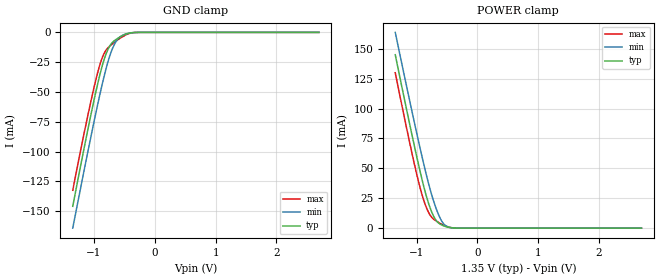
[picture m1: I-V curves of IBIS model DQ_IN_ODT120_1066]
| [Disclaimer]  This software code and all associated documentation, comments
| or other information (collectively "Software") is provided
| "AS IS" without warranty of any kind. MICRON TECHNOLOGY, INC.
| ("MTI") EXPRESSLY DISCLAIMS ALL WARRANTIES EXPRESS OR IMPLIED,
| INCLUDING BUT NOT LIMITED TO, NONINFRINGEMENT OF THIRD PARTY
| RIGHTS, AND ANY IMPLIED WARRANTIES OF MERCHANTABILITY OR
| FITNESS FOR ANY PARTICULAR PURPOSE. MTI DOES NOT WARRANT THAT
| THE SOFTWARE WILL MEET YOUR REQUIREMENTS, OR THAT THE
| OPERATION OF THE SOFTWARE WILL BE UNINTERRUPTED OR ERROR-FREE.
| FURTHERMORE, MTI DOES NOT MAKE ANY REPRESENTATIONS REGARDING
| THE USE OR THE RESULTS OF THE USE OF THE SOFTWARE IN TERMS OF
| ITS CORRECTNESS, ACCURACY, RELIABILITY, OR OTHERWISE. THE
| ENTIRE RISK ARISING OUT OF USE OR PERFORMANCE OF THE SOFTWARE
| REMAINS WITH YOU. IN NO EVENT SHALL MTI, ITS AFFILIATED
| COMPANIES OR THEIR SUPPLIERS BE LIABLE FOR ANY DIRECT,
| INDIRECT, CONSEQUENTIAL, INCIDENTAL, OR SPECIAL DAMAGES
| (INCLUDING, WITHOUT LIMITATION, DAMAGES FOR LOSS OF PROFITS,
| BUSINESS INTERRUPTION, OR LOSS OF INFORMATION) ARISING OUT OF
| YOUR USE OF OR INABILITY TO USE THE SOFTWARE, EVEN IF MTI HAS
| BEEN ADVISED OF THE POSSIBILITY OF SUCH DAMAGES. Because some
| jurisdictions prohibit the exclusion or limitation of
| liability for consequential or incidental damages, the above
| limitation may not apply to you.
| [Copyright] Copyright 2015 Micron Technology, Inc. All rights reserved.
| From v00h_1p35_v5p0.ibs, Micron Technology,Inc.
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| MODEL DQ_IN_ODT120_1066 (Data Input with 120ohm ODT, 800/1066Mbps)
[Model]   DQ_IN_ODT120_1066
Model_type   Input
Vinl = 515.000mV
Vinh = 835.000mV
|   typ   min   max
|C_comp   1.071pF   0.991pF   1.154pF
C_comp_power_clamp   0.5355pF   0.4955pF   0.5770pF
C_comp_gnd_clamp   0.5355pF   0.4955pF   0.5770pF
| Note: C_comp changes when the ODT circuit is enabled.
[Model Spec]
| Input threshold voltage corners
Vinl   0.5150V   0.4815V   0.5525V
Vinh   0.8350V   0.8015V   0.8725V
| Dynamic Overshoot Parameters from DDR3L Specification
D_overshoot_ampl_h   0.40   NA   NA
D_overshoot_ampl_l   0.40   NA   NA
D_overshoot_area_h   0.19n   NA   NA
D_overshoot_area_l   0.19n   NA   NA
[Receiver Thresholds]
Vth   =  0.675V
Vth_min  =  0.6615V
Vth_max  =  0.6885V
Vinh_ac  =  0.160V
Vinh_dc  =  0.090V
Vinl_ac  = -0.160V
Vinl_dc  = -0.090V
Tslew_ac =  5.000ns |Not specified, so set to high value
Threshold_sensitivity = 0.50
Reference_supply Power_clamp_ref
[Voltage Range]   1.3500V   1.2830V   1.4250V
[POWER Clamp Reference]   1.3500V   1.2830V   1.4250V
| Junction Temperature (Ambient temp is 35C typ, 95C min, 0C max)
[Temperature Range]   50.0   110.0   0.0
[Add Submodel]
| Submodel Name   Mode
120ohm_ODT_1066   Non-Driving
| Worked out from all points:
|   GND clamp passes 1 mA (typ) near -0.44 V on its own axis
|   POWER clamp passes 1 mA (typ) near -0.50 V on its own axis
[GND Clamp]
|   Voltage   I(typ)   I(min)   I(max)
-1.35V    -145.9mA   -164.2mA   -132.5mA
-1.21V    -109.2mA   -127.8mA   -96.32mA
-1.08V    -76.15mA   -94.69mA   -64.51mA
-980mV    -52.18mA   -70.05mA   -41.89mA
-900mV    -34.79mA   -51.26mA   -26.51mA
-820mV    -20.6mA    -33.99mA   -16.33mA
-730mV    -10.55mA   -18.13mA   -10.98mA
-655mV    -6.559mA   -9.106mA   -7.964mA
-575mV    -3.962mA   -3.912mA   -5.074mA
-470mV    -1.479mA   -1.183mA   -1.987mA
-330mV    -103.8uA   -97.16uA   -126.9uA
2.7V      0A         0A         0A
[POWER Clamp]
|   Voltage   I(typ)   I(min)   I(max)
-1.35V    145mA      163.7mA    129.9mA
-1.18V    103.2mA    122.5mA    87.67mA
-1.05V    72.12mA    91.74mA    56.89mA
-960mV    51.56mA    71.02mA    37.44mA
-880mV    34.65mA    53.32mA    23.07mA
-795mV    19.66mA    35.93mA    12.48mA
-710mV    9.111mA    21.19mA    7.162mA
-610mV    3.316mA    8.179mA    3.921mA
-525mV    1.394mA    2.274mA    1.814mA
-445mV    434.6uA    531.8uA    556.5uA
-280mV    9.752uA    16.13uA    7.687uA
2.7V      0A         0A         0A
